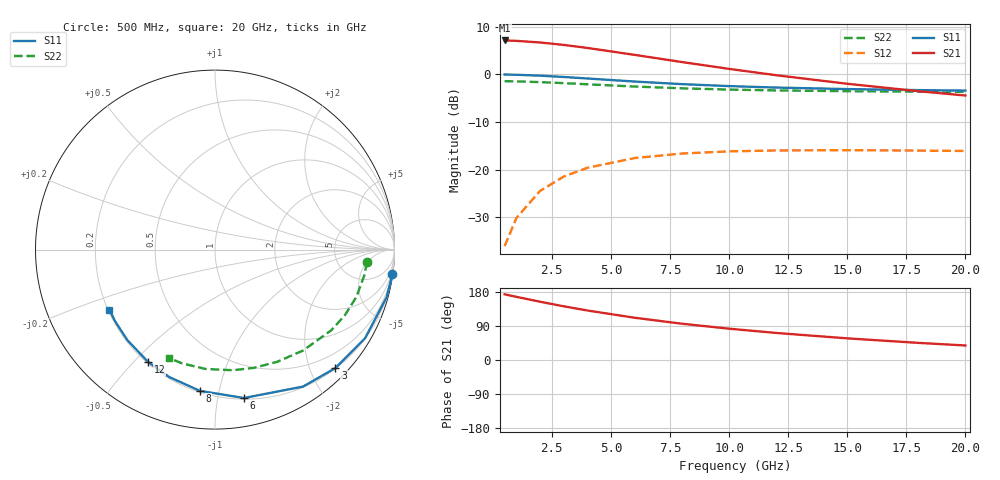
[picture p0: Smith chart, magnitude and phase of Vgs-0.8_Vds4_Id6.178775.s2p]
# Hz S RI R 50
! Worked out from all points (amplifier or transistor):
!   12 points, 500 MHz to 20 GHz, reference 50 ohm
!   highest |S21| = 7.1 dB at 500 MHz (marker M1)
!   |S21| within 3 dB of that: start of sweep to 5.964 GHz
!   unconditionally stable (mu >= 1): 14.7 GHz to end of sweep
!   at 2 GHz: K = 0.11, MSG = 15.6 dB, |S12| = -24.5 dB
!   at 8 GHz: K = 0.48, MSG = 9.6 dB, |S12| = -16.6 dB
!   at 20 GHz: K = 1.51, MAG = 1.6 dB, |S12| = -16.1 dB
!   S11 on the Smith chart (normalised r, x): 500 MHz: 0, -15; 3 GHz: 0.21, -2.43; 6 GHz: 0.21, -1.19; 8 GHz: 0.21, -0.88; 12 GHz: 0.21, -0.55; 20 GHz: 0.21, -0.25
5e8  0.9888 -0.1356  -2.261 0.2655  0.0015 0.0156  0.8463 -0.0698
1e9  0.956 -0.2659  -2.193 0.5198  0.00589 0.0305  0.8339 -0.1378
2e9  0.8365 -0.4933  -1.945 0.9573  0.0218 0.0557  0.7882 -0.2629
3e9  0.6711 -0.6597  -1.605 1.265  0.0435 0.0724  0.7226 -0.3674
4e9  0.4905 -0.7632  -1.238 1.441  0.0668 0.0805  0.6469 -0.4503
6e9  0.1616 -0.8268  -0.5897 1.494  0.1071 0.0775  0.4916 -0.5616
8e9  -0.0843 -0.7869  -0.1358 1.344  0.1341 0.0618  0.3474 -0.6249
1e10  -0.2552 -0.71  0.1473 1.135  0.1494 0.0431  0.2178 -0.6586
1.2e10  -0.3733 -0.6254  0.3138 0.9297  0.157 0.0254  0.1009 -0.6721
1.5e10  -0.488 -0.5048  0.4334 0.6703  0.16 0.00312  -0.0533 -0.665
1.8e10  -0.5574 -0.3981  0.4701 0.4739  0.158 -0.0139  -0.1836 -0.6338
2e10  -0.588 -0.3344  0.4714 0.3723  0.1555 -0.0229  -0.2579 -0.6036
